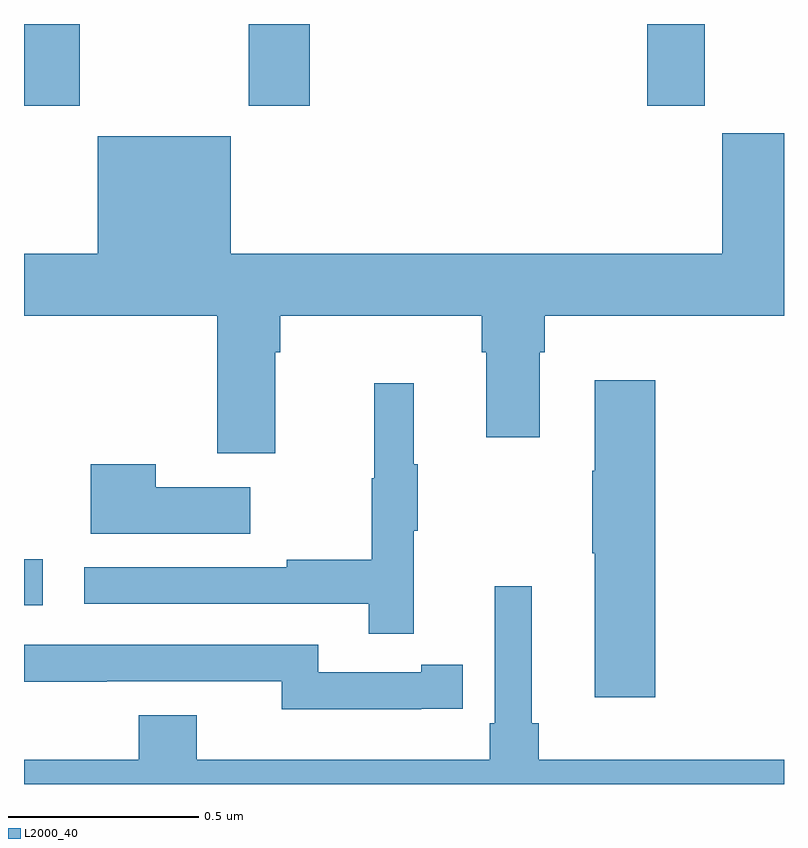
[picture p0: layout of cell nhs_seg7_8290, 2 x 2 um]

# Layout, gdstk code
import gdstk
lib = gdstk.Library(unit=1e-6, precision=1e-09)
def R(c, l, rs):  # rectangles x0, y0, x1, y1
    for r in rs: c.add(gdstk.rectangle(r[:2], r[2:], *l))
def P(c, l, *ps):  # polygons
    for p in ps: c.add(gdstk.Polygon(p, *l))
L2000_40 = (2000, 40)

nhs_seg7_8290 = lib.new_cell('nhs_seg7_8290')
R(nhs_seg7_8290, L2000_40, [(222,1050.471,222.049,1050.591), (222,1051.785,222.147,1052), (222.592,1051.785,222.752,1052), (223.64,1051.785,223.792,1052)])
P(nhs_seg7_8290, L2000_40, [(222.661,1051.136),(222.674,1051.136),(222.674,1051.232),(223.205,1051.232),(223.205,1051.136),(223.217,1051.136),(223.217,1050.912),(223.357,1050.912),(223.357,1051.136),(223.37,1051.136),(223.37,1051.232),(224,1051.232),(224,1051.713),(223.838,1051.713),(223.838,1051.396),(222.544,1051.396),(222.544,1051.705),(222.194,1051.705),(222.194,1051.396),(222,1051.396),(222,1051.232),(222.509,1051.232),(222.509,1050.87),(222.661,1050.87)],
  [(223.661,1051.063),(223.502,1051.063),(223.502,1050.824),(223.495,1050.824),(223.495,1050.607),(223.502,1050.607),(223.502,1050.228),(223.661,1050.228)],
  [(223.025,1050.667),(223.036,1050.667),(223.036,1050.841),(223.025,1050.841),(223.025,1051.054),(222.922,1051.054),(222.922,1050.804),(222.915,1050.804),(222.915,1050.59),(222.691,1050.59),(222.691,1050.57),(222.159,1050.57),(222.159,1050.474),(222.907,1050.474),(222.907,1050.396),(223.025,1050.396)],
  [(222.595,1050.781),(222.347,1050.781),(222.347,1050.841),(222.176,1050.841),(222.176,1050.659),(222.595,1050.659)],
  [(224,1050.064),(223.355,1050.064),(223.355,1050.16),(223.336,1050.16),(223.336,1050.52),(223.239,1050.52),(223.239,1050.16),(223.226,1050.16),(223.226,1050.064),(222.454,1050.064),(222.454,1050.181),(222.302,1050.181),(222.302,1050.064),(222,1050.064),(222,1050),(224,1050)],
  [(223.046,1050.198),(223.154,1050.198),(223.154,1050.314),(223.046,1050.314),(223.046,1050.294),(222.774,1050.294),(222.774,1050.366),(222,1050.366),(222,1050.269),(222.218,1050.269),(222.218,1050.27),(222.678,1050.27),(222.678,1050.197),(223.046,1050.197)])

lib.write_gds('nhs_seg7_8290.gds')
